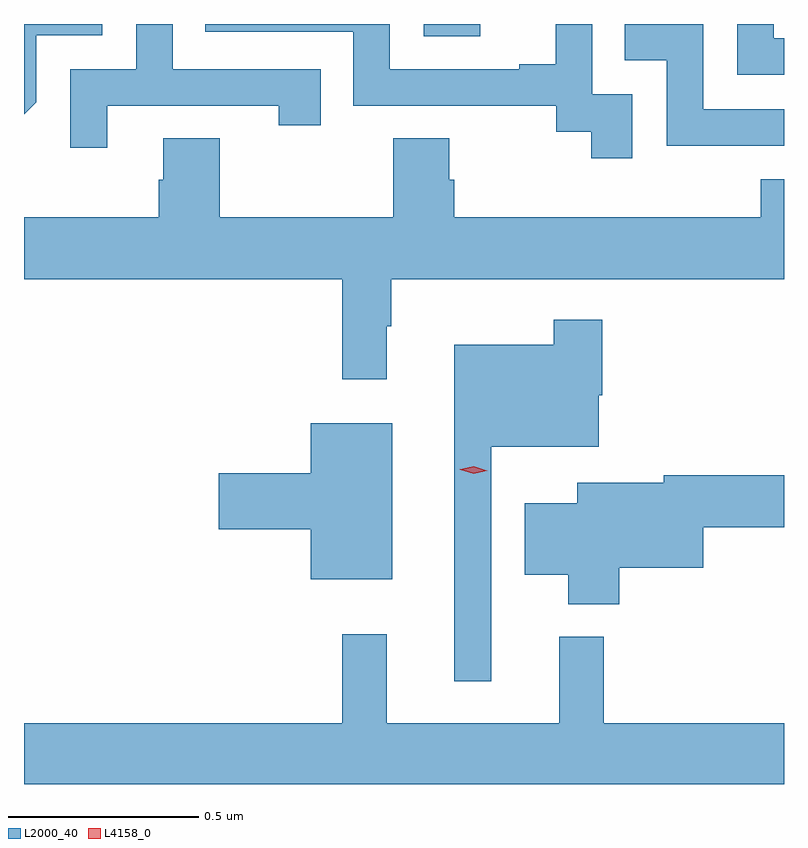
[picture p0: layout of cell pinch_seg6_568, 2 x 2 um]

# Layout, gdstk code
import gdstk
lib = gdstk.Library(unit=1e-6, precision=1e-09)
def R(c, l, rs):  # rectangles x0, y0, x1, y1
    for r in rs: c.add(gdstk.rectangle(r[:2], r[2:], *l))
def P(c, l, *ps):  # polygons
    for p in ps: c.add(gdstk.Polygon(p, *l))
L2000_40 = (2000, 40)
L4158_0 = (4158, 0)

pinch_seg6_568 = lib.new_cell('pinch_seg6_568')
R(pinch_seg6_568, L2000_40, [(570.138,983.94,570.286,983.972)])
P(pinch_seg6_568, L2000_40, [(571.086,983.748),(570.873,983.748),(570.873,983.972),(570.667,983.972),(570.667,983.877),(570.777,983.877),(570.777,983.652),(571.086,983.652)],
  [(570.687,983.787),(570.582,983.787),(570.582,983.972),(570.485,983.972),(570.485,983.866),(570.389,983.866),(570.389,983.853),(570.048,983.853),(570.048,983.972),(569.563,983.972),(569.563,983.952),(569.952,983.952),(569.952,983.757),(570.486,983.757),(570.486,983.689),(570.579,983.689),(570.579,983.619),(570.687,983.619)],
  [(569.305,983.757),(569.756,983.757),(569.756,983.706),(569.867,983.706),(569.867,983.853),(569.478,983.853),(569.478,983.972),(569.382,983.972),(569.382,983.853),(569.208,983.853),(569.208,983.646),(569.305,983.646)],
  [(569.118,983.766),(569.118,983.943),(569.292,983.943),(569.292,983.972),(569.086,983.972),(569.086,983.734)],
  [(571.086,983.934),(571.059,983.934),(571.059,983.972),(570.963,983.972),(570.963,983.838),(571.086,983.838)],
  [(570.04,983.177),(570.052,983.177),(570.052,983.3),(571.086,983.3),(571.086,983.563),(571.025,983.563),(571.025,983.464),(570.218,983.464),(570.218,983.562),(570.205,983.562),(570.205,983.672),(570.058,983.672),(570.058,983.464),(569.601,983.464),(569.601,983.672),(569.453,983.672),(569.453,983.562),(569.441,983.562),(569.441,983.464),(569.086,983.464),(569.086,983.3),(569.923,983.3),(569.923,983.037),(570.04,983.037)],
  [(570.315,982.859),(570.598,982.859),(570.598,982.995),(570.608,982.995),(570.608,983.194),(570.48,983.194),(570.48,983.128),(570.218,983.128),(570.218,982.242),(570.315,982.242)],
  [(570.055,982.921),(569.84,982.921),(569.84,982.79),(569.598,982.79),(569.598,982.643),(569.84,982.643),(569.84,982.511),(570.055,982.511)],
  [(570.653,982.541),(570.874,982.541),(570.874,982.648),(571.086,982.648),(571.086,982.784),(570.77,982.784),(570.77,982.765),(570.542,982.765),(570.542,982.711),(570.404,982.711),(570.404,982.523),(570.518,982.523),(570.518,982.445),(570.653,982.445)],
  [(571.086,982.132),(570.611,982.132),(570.611,982.36),(570.494,982.36),(570.494,982.132),(570.041,982.132),(570.041,982.366),(569.923,982.366),(569.923,982.132),(569.086,982.132),(569.086,981.972),(571.086,981.972)])
P(pinch_seg6_568, L4158_0, [(570.269,982.788),(570.234,982.799),(570.233,982.8),(570.234,982.8),(570.27,982.808),(570.305,982.796),(570.305,982.796),(570.305,982.796)])

lib.write_gds('pinch_seg6_568.gds')
